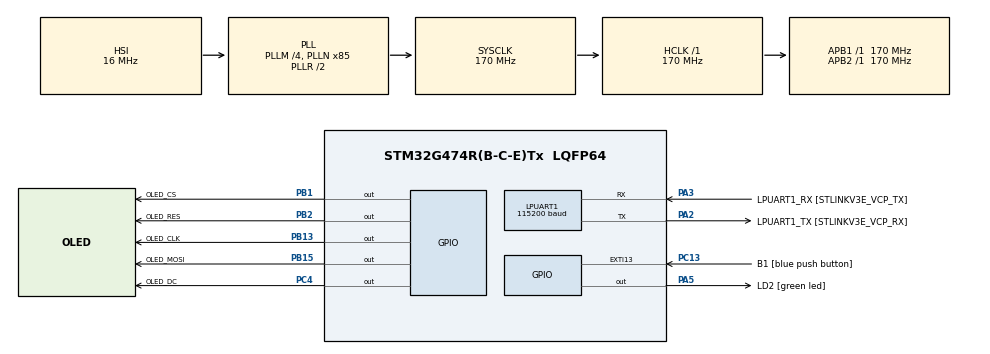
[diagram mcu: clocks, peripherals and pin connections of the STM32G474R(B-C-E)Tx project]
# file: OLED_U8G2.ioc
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LPUART1.BaudRate=115200
LPUART1.WordLength=UART_WORDLENGTH_8B
Mcu.Family=STM32G4
Mcu.Name=STM32G474R(B-C-E)Tx
Mcu.Package=LQFP64
NVIC.EXTI15_10_IRQn=true\:0\:0\:false\:false\:true\:true\:true\:true
NVIC.PriorityGroup=NVIC_PRIORITYGROUP_4
PA13.GPIO_Label=T_SWDIO
PA13.Mode=Serial_Wire
PA13.Signal=SYS_JTMS-SWDIO
PA14.GPIO_Label=T_SWCLK
PA14.Mode=Serial_Wire
PA14.Signal=SYS_JTCK-SWCLK
PA2.GPIO_Label=LPUART1_TX [STLINKV3E_VCP_RX]
PA2.Mode=Asynchronous
PA2.Signal=LPUART1_TX
PA3.GPIO_Label=LPUART1_RX [STLINKV3E_VCP_TX]
PA3.Mode=Asynchronous
PA3.Signal=LPUART1_RX
PA5.GPIO_Label=LD2 [green led]
PA5.Signal=GPIO_Output
PB1.GPIO_Label=OLED_CS
PB1.GPIO_Speed=GPIO_SPEED_FREQ_HIGH
PB1.Signal=GPIO_Output
PB13.GPIO_Label=OLED_CLK
PB13.GPIO_Speed=GPIO_SPEED_FREQ_VERY_HIGH
PB13.Signal=GPIO_Output
PB15.GPIO_Label=OLED_MOSI
PB15.GPIO_Speed=GPIO_SPEED_FREQ_VERY_HIGH
PB15.Signal=GPIO_Output
PB2.GPIO_Label=OLED_RES
PB2.GPIO_Speed=GPIO_SPEED_FREQ_LOW
PB2.PinState=GPIO_PIN_SET
PB2.Signal=GPIO_Output
PB3.GPIO_Label=T_SWO
PB3.Signal=SYS_JTDO-SWO
PC13.GPIO_Label=B1 [blue push button]
PC13.Signal=GPXTI13
PC14-OSC32_IN.Mode=LSE-External-Oscillator
PC14-OSC32_IN.Signal=RCC_OSC32_IN
PC15-OSC32_OUT.Mode=LSE-External-Oscillator
PC15-OSC32_OUT.Signal=RCC_OSC32_OUT
PC4.GPIO_Label=OLED_DC
PC4.GPIO_Speed=GPIO_SPEED_FREQ_HIGH
PC4.PinState=GPIO_PIN_RESET
PC4.Signal=GPIO_Output
PF0-OSC_IN.Mode=HSE-External-Oscillator
PF0-OSC_IN.Signal=RCC_OSC_IN
PF1-OSC_OUT.Mode=HSE-External-Oscillator
PF1-OSC_OUT.Signal=RCC_OSC_OUT
ProjectManager.HeapSize=0x200
ProjectManager.StackSize=0x400
ProjectManager.TargetToolchain=STM32CubeIDE
RCC.ADC12Freq_Value=170000000
RCC.ADC345Freq_Value=170000000
RCC.AHBFreq_Value=170000000
RCC.APB1Freq_Value=170000000
RCC.APB1TimFreq_Value=170000000
RCC.APB2Freq_Value=170000000
RCC.APB2TimFreq_Value=170000000
RCC.CortexFreq_Value=170000000
RCC.EXTERNAL_CLOCK_VALUE=12288000
RCC.HCLKFreq_Value=170000000
RCC.HSE_VALUE=24000000
RCC.HSI48_VALUE=48000000
RCC.HSI_VALUE=16000000
RCC.PLLM=RCC_PLLM_DIV4
RCC.PLLN=85
RCC.RTCClockSelection=RCC_RTCCLKSOURCE_LSE
RCC.SYSCLKFreq_VALUE=170000000
RCC.SYSCLKSource=RCC_SYSCLKSOURCE_PLLCLK
RCC.USBFreq_Value=170000000
RCC.VCOOutputFreq_Value=340000000
VP_SYS_VS_DBSignals.Mode=DisableDeadBatterySignals
board=NUCLEO-G474RE

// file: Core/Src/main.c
/* USER CODE BEGIN Header */
/**
  ******************************************************************************
  * @file           : main.c
  * @brief          : Main program body
  ******************************************************************************
  * @attention
  *
  * Copyright (c) 2023 STMicroelectronics.
  * All rights reserved.
  *
  * This software is licensed under terms that can be found in the LICENSE file
  * in the root directory of this software component.
  * If no LICENSE file comes with this software, it is provided AS-IS.
  *
  ******************************************************************************
  */
/* USER CODE END Header */
#include "main.h"
#include "usart.h"
#include "gpio.h"

/* USER CODE BEGIN Includes */
#include "oled.h"
#include "stdio.h"
/* USER CODE END Includes */

/* USER CODE BEGIN PD */
#ifdef __GNUC__
#define PUTCHAR_PROTOTYPE int __io_putchar(int ch)
#else
#define PUTCHAR_PROTOTYPE int fputc(int ch, FILE *f)
#endif

PUTCHAR_PROTOTYPE {
    HAL_UART_Transmit(&hlpuart1, (uint8_t *) &ch, 1, 0xFFFF);//阻塞方式打印,串口1
    return ch;
}
/* USER CODE END PD */

void SystemClock_Config(void);

int main(void)
{

  /* MCU Configuration--------------------------------------------------------*/

  /* Reset of all peripherals, Initializes the Flash interface and the Systick. */
  HAL_Init();

  /* Configure the system clock */
  SystemClock_Config();

  /* Initialize all configured peripherals */
  MX_GPIO_Init();
  MX_LPUART1_UART_Init();
  /* USER CODE BEGIN 2 */
    printf("Start\n");
    u8g2_t u8g2; // 它将包含一个显示器的所有数据
    u8g2Init(&u8g2);
    printf("Init Successful!\n");
//    u8g2_FirstPage(&u8g2);
//    draw(&u8g2);
//    HAL_Delay(500);
//    u8g2_NextPage(&u8g2);
//    u8g2_DrawCircle(&u8g2,20, 25, 10, U8G2_DRAW_ALL);
//    u8g2_drawCircle(20, 25, 10, U8G2_DRAW_ALL);
//    u8g2_DrawBox(&u8g2,30,30,30,30);
//    HAL_Delay(500);
  /* USER CODE END 2 */

  /* Infinite loop */
  /* USER CODE BEGIN WHILE */
  while (1)
  {
      u8g2_FirstPage(&u8g2);
      do
      {
//          draw(&u8g2);
//          u8g2_DrawCircle(&u8g2,50, 50, 10, U8G2_DRAW_ALL);
//          u8g2_DrawBox(&u8g2,0,0,30,30);
//          u8g2_DrawUTF8(&u8g2,30,30,"你好世界");
          u8g2_DrawRFrame(&u8g2,90,15,30,22,7);

//          u8g2_SetFont(&u8g2,u8g2_font_unifont_t_0_78_79);
//          u8g2_DrawUTF8(&u8g2,5, 20, "info");

      } while (u8g2_NextPage(&u8g2));
    /* USER CODE END WHILE */

  }
}

void SystemClock_Config(void)
{
  RCC_OscInitTypeDef RCC_OscInitStruct = {0};
  RCC_ClkInitTypeDef RCC_ClkInitStruct = {0};

  /** Configure the main internal regulator output voltage
  */
  HAL_PWREx_ControlVoltageScaling(PWR_REGULATOR_VOLTAGE_SCALE1_BOOST);

  /** Initializes the RCC Oscillators according to the specified parameters
  * in the RCC_OscInitTypeDef structure.
  */
  RCC_OscInitStruct.OscillatorType = RCC_OSCILLATORTYPE_HSI;
  RCC_OscInitStruct.HSIState = RCC_HSI_ON;
  RCC_OscInitStruct.HSICalibrationValue = RCC_HSICALIBRATION_DEFAULT;
  RCC_OscInitStruct.PLL.PLLState = RCC_PLL_ON;
  RCC_OscInitStruct.PLL.PLLSource = RCC_PLLSOURCE_HSI;
  RCC_OscInitStruct.PLL.PLLM = RCC_PLLM_DIV4;
  RCC_OscInitStruct.PLL.PLLN = 85;
  RCC_OscInitStruct.PLL.PLLP = RCC_PLLP_DIV2;
  RCC_OscInitStruct.PLL.PLLQ = RCC_PLLQ_DIV2;
  RCC_OscInitStruct.PLL.PLLR = RCC_PLLR_DIV2;
  if (HAL_RCC_OscConfig(&RCC_OscInitStruct) != HAL_OK)
  {
    Error_Handler();
  }

  /** Initializes the CPU, AHB and APB buses clocks
  */
  RCC_ClkInitStruct.ClockType = RCC_CLOCKTYPE_HCLK|RCC_CLOCKTYPE_SYSCLK
                              |RCC_CLOCKTYPE_PCLK1|RCC_CLOCKTYPE_PCLK2;
  RCC_ClkInitStruct.SYSCLKSource = RCC_SYSCLKSOURCE_PLLCLK;
  RCC_ClkInitStruct.AHBCLKDivider = RCC_SYSCLK_DIV1;
  RCC_ClkInitStruct.APB1CLKDivider = RCC_HCLK_DIV1;
  RCC_ClkInitStruct.APB2CLKDivider = RCC_HCLK_DIV1;

  if (HAL_RCC_ClockConfig(&RCC_ClkInitStruct, FLASH_LATENCY_4) != HAL_OK)
  {
    Error_Handler();
  }
}

void Error_Handler(void)
{
  __disable_irq();
  while (1)
  {
  }
}
